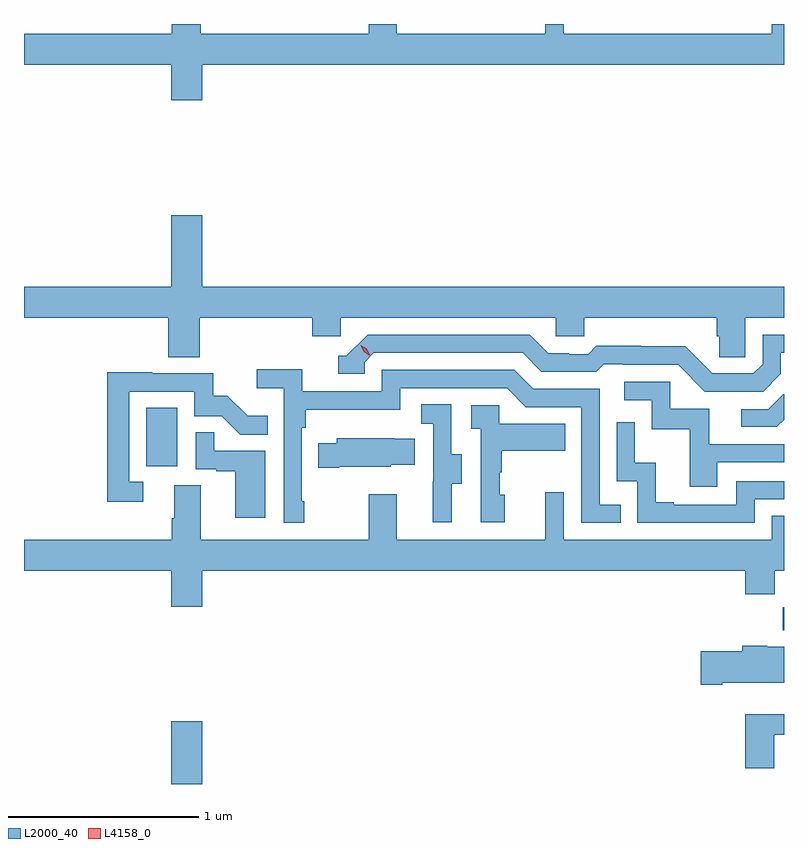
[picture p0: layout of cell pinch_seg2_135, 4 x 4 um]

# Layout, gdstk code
import gdstk
lib = gdstk.Library(unit=1e-6, precision=1e-09)
def R(c, l, rs):  # rectangles x0, y0, x1, y1
    for r in rs: c.add(gdstk.rectangle(r[:2], r[2:], *l))
def P(c, l, *ps):  # polygons
    for p in ps: c.add(gdstk.Polygon(p, *l))
L2000_40 = (2000, 40)
L4158_0 = (4158, 0)

pinch_seg2_135 = lib.new_cell('pinch_seg2_135')
R(pinch_seg2_135, L2000_40, [(1142.03,629.198,1142.194,629.527), (1145.248,630.008,1145.255,630.127), (1141.898,630.87,1142.062,631.177)])
P(pinch_seg2_135, L2000_40, [(1142.194,632.984),(1145.255,632.984),(1145.255,633.198),(1145.19,633.198),(1145.19,633.148),(1144.095,633.148),(1144.095,633.198),(1143.998,633.198),(1143.998,633.148),(1143.217,633.148),(1143.217,633.198),(1143.07,633.198),(1143.07,633.148),(1142.185,633.148),(1142.185,633.198),(1142.033,633.198),(1142.033,633.148),(1141.255,633.148),(1141.255,632.984),(1142.03,632.984),(1142.03,632.796),(1142.194,632.796)],
  [(1142.18,631.652),(1142.771,631.652),(1142.771,631.554),(1142.922,631.554),(1142.922,631.652),(1144.053,631.652),(1144.053,631.554),(1144.203,631.554),(1144.203,631.652),(1144.901,631.652),(1144.901,631.554),(1144.915,631.554),(1144.915,631.444),(1145.052,631.444),(1145.052,631.652),(1145.255,631.652),(1145.255,631.816),(1142.194,631.816),(1142.194,632.191),(1142.03,632.191),(1142.03,631.816),(1141.255,631.816),(1141.255,631.652),(1142.015,631.652),(1142.015,631.444),(1142.18,631.444)],
  [(1145.239,631.357),(1145.239,631.467),(1145.255,631.467),(1145.255,631.563),(1145.142,631.563),(1145.142,631.407),(1145.094,631.359),(1144.878,631.359),(1144.736,631.501),(1144.5,631.501),(1144.5,631.504),(1144.267,631.504),(1144.225,631.461),(1144.122,631.461),(1144.122,631.464),(1144.015,631.464),(1143.916,631.563),(1143.063,631.563),(1142.952,631.452),(1142.909,631.452),(1142.909,631.356),(1143.048,631.356),(1143.048,631.419),(1143.096,631.467),(1143.879,631.467),(1143.978,631.368),(1144.267,631.368),(1144.306,631.407),(1144.405,631.407),(1144.405,631.404),(1144.698,631.404),(1144.839,631.263),(1145.145,631.263)],
  [(1142.731,630.685),(1142.718,630.685),(1142.718,631.073),(1142.738,631.073),(1142.738,631.169),(1143.234,631.169),(1143.234,631.281),(1143.798,631.281),(1143.897,631.182),(1144.188,631.182),(1144.188,630.573),(1144.397,630.573),(1144.397,630.669),(1144.284,630.669),(1144.284,631.278),(1143.934,631.278),(1143.835,631.377),(1143.138,631.377),(1143.138,631.266),(1142.72,631.266),(1142.72,631.382),(1142.481,631.382),(1142.481,631.28),(1142.622,631.28),(1142.622,630.573),(1142.731,630.573)],
  [(1141.882,630.789),(1141.809,630.789),(1141.809,631.263),(1142.151,631.263),(1142.151,631.134),(1142.295,631.134),(1142.393,631.036),(1142.537,631.036),(1142.537,631.135),(1142.433,631.135),(1142.326,631.242),(1142.25,631.242),(1142.25,631.359),(1141.931,631.359),(1141.931,631.364),(1141.693,631.364),(1141.693,630.684),(1141.882,630.684)],
  [(1144.903,630.891),(1145.255,630.891),(1145.255,630.987),(1144.861,630.987),(1144.861,631.173),(1144.656,631.173),(1144.656,631.314),(1144.413,631.314),(1144.413,631.218),(1144.56,631.218),(1144.56,631.065),(1144.759,631.065),(1144.759,630.762),(1144.903,630.762)],
  [(1145.255,631.114),(1145.255,631.25),(1145.252,631.25),(1145.172,631.17),(1145.031,631.17),(1145.031,631.077),(1145.218,631.077)],
  [(1143.505,630.778),(1143.559,630.778),(1143.559,630.933),(1143.504,630.933),(1143.504,631.196),(1143.345,631.196),(1143.345,631.093),(1143.408,631.093),(1143.408,630.789),(1143.407,630.789),(1143.407,630.576),(1143.505,630.576)],
  [(1143.784,630.72),(1143.759,630.72),(1143.759,630.839),(1143.769,630.839),(1143.769,630.953),(1144.103,630.953),(1144.103,631.093),(1143.756,631.093),(1143.756,631.191),(1143.609,631.191),(1143.609,631.067),(1143.66,631.067),(1143.66,630.576),(1143.784,630.576)],
  [(1145.1,630.696),(1145.255,630.696),(1145.255,630.792),(1145.004,630.792),(1145.004,630.669),(1144.675,630.669),(1144.675,630.682),(1144.58,630.682),(1144.58,630.89),(1144.47,630.89),(1144.47,631.102),(1144.374,631.102),(1144.374,630.792),(1144.482,630.792),(1144.482,630.573),(1145.1,630.573)],
  [(1142.524,630.951),(1142.255,630.951),(1142.255,631.049),(1142.16,631.049),(1142.16,630.855),(1142.267,630.855),(1142.267,630.843),(1142.366,630.843),(1142.366,630.6),(1142.524,630.6)],
  [(1142.914,630.869),(1143.186,630.869),(1143.186,630.878),(1143.311,630.878),(1143.311,631.015),(1143.203,631.015),(1143.203,631.018),(1142.901,631.018),(1142.901,630.991),(1142.803,630.991),(1142.803,630.862),(1142.914,630.862)],
  [(1142.194,630.32),(1145.051,630.32),(1145.051,630.196),(1145.207,630.196),(1145.207,630.32),(1145.255,630.32),(1145.255,630.611),(1145.19,630.611),(1145.19,630.484),(1144.095,630.484),(1144.095,630.733),(1143.998,630.733),(1143.998,630.484),(1143.217,630.484),(1143.217,630.724),(1143.07,630.724),(1143.07,630.484),(1142.185,630.484),(1142.185,630.77),(1142.045,630.77),(1142.045,630.596),(1142.033,630.596),(1142.033,630.484),(1141.255,630.484),(1141.255,630.32),(1142.03,630.32),(1142.03,630.132),(1142.194,630.132)],
  [(1144.93,629.732),(1145.255,629.732),(1145.255,629.92),(1145.166,629.92),(1145.166,629.926),(1145.036,629.926),(1145.036,629.898),(1144.818,629.898),(1144.818,629.72),(1144.93,629.72)],
  [(1145.203,629.457),(1145.255,629.457),(1145.255,629.566),(1145.051,629.566),(1145.051,629.28),(1145.203,629.28)])
P(pinch_seg2_135, L4158_0, [(1143.073,631.455),(1143.043,631.474),(1143.027,631.507),(1143.027,631.507),(1143.028,631.507),(1143.058,631.488),(1143.074,631.455),(1143.074,631.455)])

lib.write_gds('pinch_seg2_135.gds')
